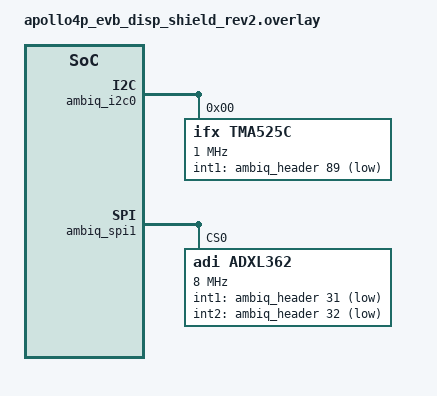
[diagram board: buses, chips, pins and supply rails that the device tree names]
/*
 *  Copyright (c) 2023 Antmicro <www.antmicro.com>
 *
 * SPDX-License-Identifier: Apache-2.0
 */

/ {
	aliases {
		accel0 = &adxl362;
		touch0 = &tma525c;
	};
};

&ambiq_i2c0 {
	tma525c: tma525c@0 {
		compatible = "ifx,tma525c";
		reg = <0>;
		spi-max-frequency = <1000000>;
		int1-gpios = <&ambiq_header 89 (GPIO_ACTIVE_LOW | GPIO_PULL_UP)>;
		status = "okay";
	};
};

&ambiq_spi1 {
	adxl362: adxl362@0 {
		compatible = "adi,adxl362";
		reg = <0>;
		spi-max-frequency = <8000000>;
		int1-gpios = <&ambiq_header 31 (GPIO_ACTIVE_LOW | GPIO_PULL_UP)>;
		int2-gpios = <&ambiq_header 32 (GPIO_ACTIVE_LOW | GPIO_PULL_UP)>;
		status = "okay";
	};
};
